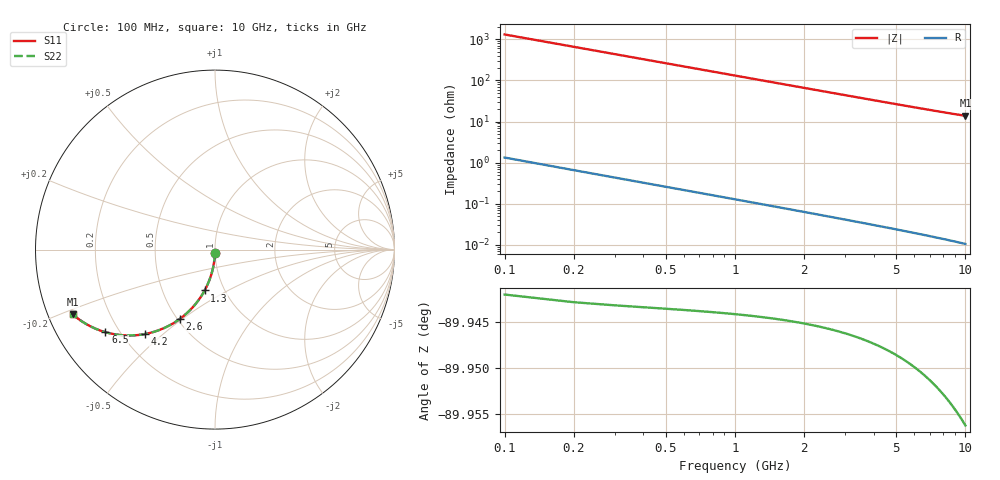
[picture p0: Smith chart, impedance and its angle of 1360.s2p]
# Hz S RI R 50.00
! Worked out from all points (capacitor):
!   100 points, 100 MHz to 10 GHz, reference 50 ohm
!   read as one part in shunt: C = 1.21 pF near 100 MHz
!   lowest |Z| = 13.8 ohm at 10 GHz (marker M1)
!   S11 on the Smith chart (normalised r, x): 100 MHz: 1.00, -0.04; 1.3 GHz: 0.81, -0.39; 2.6 GHz: 0.51, -0.49; 4.2 GHz: 0.29, -0.44; 6.5 GHz: 0.15, -0.33; 10 GHz: 0.07, -0.22
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1e8  -0.00027 -0.0186  0.9995 -0.0194  0.9995 -0.0194  -0.00027 -0.0186
2e8  -0.00137 -0.0372  0.9984 -0.0388  0.9984 -0.0388  -0.00137 -0.0372
3e8  -0.00319 -0.0557  0.9966 -0.0581  0.9966 -0.0581  -0.00319 -0.0557
4e8  -0.00572 -0.074  0.9941 -0.0773  0.9941 -0.0773  -0.00572 -0.074
5e8  -0.00894 -0.0922  0.9908 -0.0963  0.9908 -0.0963  -0.00894 -0.0922
6e8  -0.0129 -0.1102  0.9869 -0.1151  0.9869 -0.1151  -0.0129 -0.1102
7e8  -0.0174 -0.128  0.9823 -0.1337  0.9823 -0.1337  -0.0174 -0.128
8e8  -0.0227 -0.1455  0.9771 -0.152  0.9771 -0.152  -0.0227 -0.1455
1e9  -0.035 -0.1796  0.9647 -0.1877  0.9647 -0.1877  -0.035 -0.1796
1.3e9  -0.0578 -0.2279  0.9419 -0.2384  0.9419 -0.2384  -0.0578 -0.2279
1.5e9  -0.0755 -0.2579  0.9242 -0.27  0.9242 -0.27  -0.0755 -0.2579
1.8e9  -0.1053 -0.2994  0.8943 -0.314  0.8943 -0.314  -0.1053 -0.2994
2.2e9  -0.1497 -0.3475  0.8499 -0.3654  0.8499 -0.3654  -0.1497 -0.3475
2.6e9  -0.1975 -0.3872  0.802 -0.4084  0.802 -0.4084  -0.1975 -0.3872
3.4e9  -0.2969 -0.4427  0.7025 -0.4704  0.7025 -0.4704  -0.2969 -0.4427
4.2e9  -0.3927 -0.4708  0.6064 -0.5051  0.6064 -0.5051  -0.3927 -0.4708
5.1e9  -0.4893 -0.4784  0.5095 -0.5203  0.5095 -0.5203  -0.4893 -0.4784
6.5e9  -0.6109 -0.4599  0.3874 -0.5137  0.3874 -0.5137  -0.6109 -0.4599
6.7e9  -0.6256 -0.4554  0.3726 -0.511  0.3726 -0.511  -0.6256 -0.4554
7.5e9  -0.678 -0.435  0.3198 -0.4976  0.3198 -0.4976  -0.678 -0.435
8.4e9  -0.7267 -0.4092  0.2705 -0.4797  0.2705 -0.4797  -0.7267 -0.4092
1e10  -0.7923 -0.3612  0.2038 -0.4461  0.2038 -0.4461  -0.7923 -0.3612
